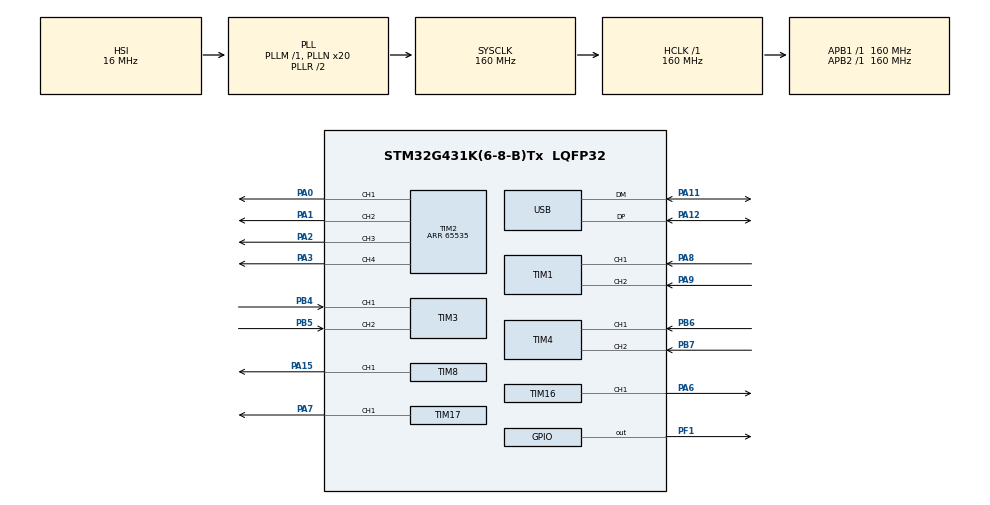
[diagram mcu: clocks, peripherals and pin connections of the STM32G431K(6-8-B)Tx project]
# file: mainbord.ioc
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Mcu.Family=STM32G4
Mcu.Name=STM32G431K(6-8-B)Tx
Mcu.Package=LQFP32
NVIC.PriorityGroup=NVIC_PRIORITYGROUP_4
NVIC.TIM6_DAC_IRQn=true\:0\:0\:false\:false\:true\:true\:true
NVIC.USB_LP_IRQn=true\:0\:0\:false\:false\:true\:false\:true
PA0.Signal=S_TIM2_CH1
PA1.Signal=S_TIM2_CH2
PA11.Mode=Device
PA11.Signal=USB_DM
PA12.Mode=Device
PA12.Signal=USB_DP
PA13.Mode=Serial_Wire
PA13.Signal=SYS_JTMS-SWDIO
PA14.Mode=Serial_Wire
PA14.Signal=SYS_JTCK-SWCLK
PA15.Signal=S_TIM8_CH1
PA2.Signal=S_TIM2_CH3
PA3.Signal=S_TIM2_CH4
PA6.Signal=S_TIM16_CH1
PA7.Signal=S_TIM17_CH1
PA8.Signal=S_TIM1_CH1
PA9.Signal=S_TIM1_CH2
PB4.Signal=S_TIM3_CH1
PB5.Signal=S_TIM3_CH2
PB6.Signal=S_TIM4_CH1
PB7.Signal=S_TIM4_CH2
PF1-OSC_OUT.Signal=GPIO_Output
ProjectManager.HeapSize=0x200
ProjectManager.StackSize=0x400
ProjectManager.TargetToolchain=STM32CubeIDE
RCC.ADC12Freq_Value=160000000
RCC.AHBFreq_Value=160000000
RCC.APB1Freq_Value=160000000
RCC.APB1TimFreq_Value=160000000
RCC.APB2Freq_Value=160000000
RCC.APB2TimFreq_Value=160000000
RCC.CK48CLockSelection=RCC_USBCLKSOURCE_HSI48
RCC.CortexFreq_Value=160000000
RCC.EXTERNAL_CLOCK_VALUE=12288000
RCC.HCLKFreq_Value=160000000
RCC.HSE_VALUE=8000000
RCC.HSI48_VALUE=48000000
RCC.HSI_VALUE=16000000
RCC.LSE_VALUE=32768
RCC.PLLN=20
RCC.PLLQ=RCC_PLLQ_DIV4
RCC.SYSCLKFreq_VALUE=160000000
RCC.SYSCLKSource=RCC_SYSCLKSOURCE_PLLCLK
RCC.USBFreq_Value=48000000
RCC.VCOOutputFreq_Value=320000000
SH.S_TIM16_CH1.0=TIM16_CH1,PWM Generation1 CH1
SH.S_TIM17_CH1.0=TIM17_CH1,PWM Generation1 CH1
SH.S_TIM1_CH1.0=TIM1_CH1,Encoder_Interface
SH.S_TIM1_CH2.0=TIM1_CH2,Encoder_Interface
SH.S_TIM2_CH1.0=TIM2_CH1,PWM Generation1 CH1
SH.S_TIM2_CH2.0=TIM2_CH2,PWM Generation2 CH2
SH.S_TIM2_CH3.0=TIM2_CH3,PWM Generation3 CH3
SH.S_TIM2_CH4.0=TIM2_CH4,PWM Generation4 CH4
SH.S_TIM3_CH1.0=TIM3_CH1,Encoder_Interface
SH.S_TIM3_CH2.0=TIM3_CH2,Encoder_Interface
SH.S_TIM4_CH1.0=TIM4_CH1,Encoder_Interface
SH.S_TIM4_CH2.0=TIM4_CH2,Encoder_Interface
SH.S_TIM8_CH1.0=TIM8_CH1,PWM Generation1 CH1
TIM1.EncoderMode=TIM_ENCODERMODE_TI12
TIM16.Channel=TIM_CHANNEL_1
TIM17.Channel=TIM_CHANNEL_1
TIM2.Channel-PWM\ Generation1\ CH1=TIM_CHANNEL_1
TIM2.Channel-PWM\ Generation2\ CH2=TIM_CHANNEL_2
TIM2.Channel-PWM\ Generation3\ CH3=TIM_CHANNEL_3
TIM2.Channel-PWM\ Generation4\ CH4=TIM_CHANNEL_4
TIM2.Dithering=Disable
TIM2.PeriodNoDither=65535
TIM3.EncoderMode=TIM_ENCODERMODE_TI12
TIM4.EncoderMode=TIM_ENCODERMODE_TI12
TIM6.PeriodNoDither=63999
TIM6.Prescaler=24
TIM8.Channel-PWM\ Generation1\ CH1=TIM_CHANNEL_1
TIM8.PeriodNoDither=63999
TIM8.Prescaler=49
USB_DEVICE.CLASS_NAME_FS=CDC
USB_DEVICE.VirtualMode=Cdc
USB_DEVICE.VirtualModeFS=Cdc_FS
VP_SYS_VS_DBSignals.Mode=DisableDeadBatterySignals
VP_TIM16_VS_ClockSourceINT.Mode=Enable_Timer
VP_TIM17_VS_ClockSourceINT.Mode=Enable_Timer
VP_TIM6_VS_ClockSourceINT.Mode=Enable_Timer
VP_TIM7_VS_ClockSourceINT.Mode=Enable_Timer
VP_USB_DEVICE_VS_USB_DEVICE_CDC_FS.Mode=CDC_FS
board=custom

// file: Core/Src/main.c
/* USER CODE BEGIN Header */
/**
  ******************************************************************************
  * @file           : main.c
  * @brief          : Main program body
  ******************************************************************************
  * @attention
  *
  * <h2><center>&copy; Copyright (c) 2020 STMicroelectronics.
  * All rights reserved.</center></h2>
  *
  * This software component is licensed by ST under BSD 3-Clause license,
  * the "License"; You may not use this file except in compliance with the
  * License. You may obtain a copy of the License at:
  *                        opensource.org/licenses/BSD-3-Clause
  *
  ******************************************************************************
  */
/* USER CODE END Header */
#include "main.h"
#include "usb_device.h"

TIM_HandleTypeDef htim1;
TIM_HandleTypeDef htim2;
TIM_HandleTypeDef htim3;
TIM_HandleTypeDef htim4;
TIM_HandleTypeDef htim6;
TIM_HandleTypeDef htim7;
TIM_HandleTypeDef htim8;
TIM_HandleTypeDef htim16;
TIM_HandleTypeDef htim17;

void SystemClock_Config(void);
static void MX_GPIO_Init(void);
static void MX_TIM2_Init(void);
static void MX_TIM3_Init(void);
static void MX_TIM4_Init(void);
static void MX_TIM7_Init(void);
static void MX_TIM8_Init(void);
static void MX_TIM1_Init(void);
static void MX_TIM16_Init(void);
static void MX_TIM17_Init(void);
static void MX_TIM6_Init(void);

/* USER CODE BEGIN 0 */
typedef struct Command { // (1)
  int16_t speed1;
  int16_t speed2;
  int16_t speed3;
  uint16_t throwerSpeed;
  uint16_t kp;
  uint16_t delimiter; // (2)
} Command;
Command command = {.speed1 = 0, .speed2 = 0, .speed3 = 0, .throwerSpeed = 0, .kp=0,.delimiter = 0}; // (4)
volatile uint8_t isCommandReceived = 0; // (5)

typedef struct PID {
  int16_t position;
  int16_t positionChange;
  int16_t setpoint;
  int16_t positionPrev;
  int32_t ErrorPrev;
  float Cum_error;
  int32_t Error;
  int32_t Errorchange;
  int32_t kp;
  uint32_t ki;
  uint32_t kd;
  uint32_t U;
  int32_t P;
  int32_t I;
  int32_t D;
  int32_t PID;

} PID;

int32_t getPID(PID* pid,int16_t newPosition){
	  pid->kp=6000;
	  pid->ki=46;
	  pid->kd=0;
	  pid->positionPrev = pid->position;
	  pid->position = newPosition;
	  pid->positionChange=pid->position-pid->positionPrev;
	  pid->Error =(pid->setpoint)-(pid->positionChange);

	  pid->P=(pid->kp*pid->Error);

	  pid->Cum_error=pid->Cum_error+pid->Error;
	  if(pid->setpoint==0)
	  {
		  pid->Cum_error=0;
	  }
	  if(pid->Cum_error>3500)
	 	  {
	 		  pid->Cum_error=3500;
	 	  }
	  if(pid->Cum_error<-3500)
	 	  {
	 		  pid->Cum_error=-3500;
	 	  }
	  pid->I=pid->ki*pid->Cum_error;

	  pid->Errorchange=pid->Error-pid->ErrorPrev;
	  pid->ErrorPrev=pid->Error;
	  pid->D=(pid->kd*pid->Errorchange);

	  pid->PID=pid->P+pid->I;//+pid->D;

	  return pid->PID;

}
typedef struct Feedback { // (3)
  int16_t speed1;
  uint16_t error;
  int16_t speed2;
  int16_t speed3;
  uint16_t delimiter;

} Feedback;

void CDC_On_Receive(uint8_t* buffer, uint32_t* length) { // (6)

	if (*length == sizeof(Command)) { // (7)
    memcpy(&command, buffer, sizeof(Command)); // (8)

    if (command.delimiter == 0xAAAA) { // (9)
      isCommandReceived = 1;
    }
  }
}

PID Motor1 = { .position=0,.positionChange=0,.setpoint=0,.positionPrev=0,.Cum_error=0,.D=0,.Error=0,.ErrorPrev=0l,.Errorchange=0,.I=0,.kp=0,.ki=0,.kd=0,.PID=0,};
PID Motor2 = { .position=0};
PID Motor3 =  { .position=0};
void Motor_control_calculations(){
	int32_t PID1;int32_t PID2;int32_t PID3;

	PID1  = getPID(&Motor1,(int16_t)TIM1->CNT);
	PID2  = getPID(&Motor2,(int16_t)TIM3->CNT);
	PID3  = getPID(&Motor3,(int16_t)TIM4->CNT);
//	TIM2->CCR1 = 65535;
//	TIM2->CCR2 =0;
//	TIM2->CCR3 = 65535;
//	TIM2->CCR4 = 0;
//	TIM17->CCR1 = 65535;
//	TIM16->CCR1 = 0;

	if (PID1 > 65535)
	{
	    PID1 = 65535;
	}
	else if (PID1 < -65535)
	{
	    PID1 = -65535;
	}
	if (PID2 > 65535)
	{
		PID2 = 65535;
	}
	else if (PID2 < -65535)
	{
		PID2 = -65535;
	}
	if (PID3 > 65535)
	{
		PID3 = 65535;
	}
	else if (PID3 < -65535)
	{
		PID3 = -65535;
	}
	if(PID1>0){
			TIM2->CCR2 = PID1;
			TIM2->CCR1 = 0;
		}
	else{
			TIM2->CCR1 = -PID1;
			TIM2->CCR2 = 0;
		}
	if(PID2>0){
			TIM2->CCR4 = PID2;
			TIM2->CCR3 = 0;
			}
	else{
			TIM2->CCR3 = -PID2;
			TIM2->CCR4 = 0;
		}
	if(PID3>0){
			TIM17->CCR1 = PID3;
			TIM16->CCR1 = 0;
				}
	else{
			TIM16->CCR1 = -PID3;
			TIM17->CCR1 = 0;
		}
}

void HAL_TIM_PeriodElapsedCallback(TIM_HandleTypeDef *htim) {
	  Motor_control_calculations(); // Motor control calculations can be called from here
 }
/* USER CODE END 0 */

int main(void)
{

  /* MCU Configuration--------------------------------------------------------*/

  /* Reset of all peripherals, Initializes the Flash interface and the Systick. */
  HAL_Init();

  /* Configure the system clock */
  SystemClock_Config();

  /* Initialize all configured peripherals */
  MX_GPIO_Init();
  MX_TIM2_Init();
  MX_TIM3_Init();
  MX_TIM4_Init();
  MX_TIM7_Init();
  MX_TIM8_Init();
  MX_TIM1_Init();
  MX_TIM16_Init();
  MX_TIM17_Init();
  MX_USB_Device_Init();
  MX_TIM6_Init();
  /* USER CODE BEGIN 2 */
  Feedback feedback = { // (1)
       .speed1 = 0,
       .speed2 = 0,
       .speed3 = 0,
	   .error=0,
       .delimiter = 0xAAAA
   };

  HAL_TIM_Encoder_Start(&htim1, TIM_CHANNEL_1 | TIM_CHANNEL_2);
  HAL_TIM_Encoder_Start(&htim3, TIM_CHANNEL_1 | TIM_CHANNEL_2);
  HAL_TIM_Encoder_Start(&htim4, TIM_CHANNEL_1 | TIM_CHANNEL_2);
  HAL_TIM_Base_Start_IT(&htim6);
  HAL_TIM_PWM_Start(&htim2, TIM_CHANNEL_1);
  HAL_TIM_PWM_Start(&htim2, TIM_CHANNEL_2);
  HAL_TIM_PWM_Start(&htim2, TIM_CHANNEL_3);
  HAL_TIM_PWM_Start(&htim2, TIM_CHANNEL_4);//| TIM_CHANNEL_2 | TIM_CHANNEL_3 | TIM_CHANNEL_4);
  HAL_TIM_PWM_Start(&htim16, TIM_CHANNEL_1);
  HAL_TIM_PWM_Start(&htim17, TIM_CHANNEL_1);
  HAL_TIM_PWM_Start(&htim8, TIM_CHANNEL_1);
  TIM8->CCR1=3000;
  /* USER CODE END 2 */

  /* Infinite loop */
  while (1)
  {

    /* USER CODE BEGIN 3 */
	  if (isCommandReceived) { // (2)
	        isCommandReceived = 0;
	        HAL_GPIO_TogglePin(GPIOF, GPIO_PIN_1);
	        //HAL_Delay(1000);// (3)
            Motor1.setpoint = command.speed1;
            Motor2.setpoint = command.speed2;
            Motor3.setpoint = command.speed3;

            TIM8->CCR1=command.throwerSpeed;
//            Motor1.kp=command.kp;
//            Motor2.kp=command.kp;
//            Motor3.kp=command.kp*4;

            //feedback.speed1 = TIM8->CCR1;
	        feedback.speed1 = Motor1.positionChange;
	        feedback.error=Motor3.Error;// (4)
	        feedback.speed2 =Motor2.positionChange;//Motor2.positionChange;
	        feedback.speed3 =Motor3.positionChange;//Motor3.positionChange;

	        CDC_Transmit_FS(&feedback, sizeof(feedback)); // (5)
	      }

  }
  /* USER CODE END 3 */
}

void SystemClock_Config(void)
{
  RCC_OscInitTypeDef RCC_OscInitStruct = {0};
  RCC_ClkInitTypeDef RCC_ClkInitStruct = {0};
  RCC_PeriphCLKInitTypeDef PeriphClkInit = {0};

  /** Configure the main internal regulator output voltage
  */
  HAL_PWREx_ControlVoltageScaling(PWR_REGULATOR_VOLTAGE_SCALE1_BOOST);
  /** Initializes the RCC Oscillators according to the specified parameters
  * in the RCC_OscInitTypeDef structure.
  */
  RCC_OscInitStruct.OscillatorType = RCC_OSCILLATORTYPE_HSI|RCC_OSCILLATORTYPE_HSI48;
  RCC_OscInitStruct.HSIState = RCC_HSI_ON;
  RCC_OscInitStruct.HSICalibrationValue = RCC_HSICALIBRATION_DEFAULT;
  RCC_OscInitStruct.HSI48State = RCC_HSI48_ON;
  RCC_OscInitStruct.PLL.PLLState = RCC_PLL_ON;
  RCC_OscInitStruct.PLL.PLLSource = RCC_PLLSOURCE_HSI;
  RCC_OscInitStruct.PLL.PLLM = RCC_PLLM_DIV1;
  RCC_OscInitStruct.PLL.PLLN = 20;
  RCC_OscInitStruct.PLL.PLLP = RCC_PLLP_DIV2;
  RCC_OscInitStruct.PLL.PLLQ = RCC_PLLQ_DIV4;
  RCC_OscInitStruct.PLL.PLLR = RCC_PLLR_DIV2;
  if (HAL_RCC_OscConfig(&RCC_OscInitStruct) != HAL_OK)
  {
    Error_Handler();
  }
  /** Initializes the CPU, AHB and APB buses clocks
  */
  RCC_ClkInitStruct.ClockType = RCC_CLOCKTYPE_HCLK|RCC_CLOCKTYPE_SYSCLK
                              |RCC_CLOCKTYPE_PCLK1|RCC_CLOCKTYPE_PCLK2;
  RCC_ClkInitStruct.SYSCLKSource = RCC_SYSCLKSOURCE_PLLCLK;
  RCC_ClkInitStruct.AHBCLKDivider = RCC_SYSCLK_DIV1;
  RCC_ClkInitStruct.APB1CLKDivider = RCC_HCLK_DIV1;
  RCC_ClkInitStruct.APB2CLKDivider = RCC_HCLK_DIV1;

  if (HAL_RCC_ClockConfig(&RCC_ClkInitStruct, FLASH_LATENCY_4) != HAL_OK)
  {
    Error_Handler();
  }
  /** Initializes the peripherals clocks
  */
  PeriphClkInit.PeriphClockSelection = RCC_PERIPHCLK_USB;
  PeriphClkInit.UsbClockSelection = RCC_USBCLKSOURCE_HSI48;
  if (HAL_RCCEx_PeriphCLKConfig(&PeriphClkInit) != HAL_OK)
  {
    Error_Handler();
  }
}

static void MX_TIM1_Init(void)
{

  TIM_Encoder_InitTypeDef sConfig = {0};
  TIM_MasterConfigTypeDef sMasterConfig = {0};
  TIM_BreakDeadTimeConfigTypeDef sBreakDeadTimeConfig = {0};

  htim1.Instance = TIM1;
  htim1.Init.Prescaler = 0;
  htim1.Init.CounterMode = TIM_COUNTERMODE_UP;
  htim1.Init.Period = 65535;
  htim1.Init.ClockDivision = TIM_CLOCKDIVISION_DIV1;
  htim1.Init.RepetitionCounter = 0;
  htim1.Init.AutoReloadPreload = TIM_AUTORELOAD_PRELOAD_DISABLE;
  sConfig.EncoderMode = TIM_ENCODERMODE_TI12;
  sConfig.IC1Polarity = TIM_ICPOLARITY_RISING;
  sConfig.IC1Selection = TIM_ICSELECTION_DIRECTTI;
  sConfig.IC1Prescaler = TIM_ICPSC_DIV1;
  sConfig.IC1Filter = 0;
  sConfig.IC2Polarity = TIM_ICPOLARITY_RISING;
  sConfig.IC2Selection = TIM_ICSELECTION_DIRECTTI;
  sConfig.IC2Prescaler = TIM_ICPSC_DIV1;
  sConfig.IC2Filter = 0;
  if (HAL_TIM_Encoder_Init(&htim1, &sConfig) != HAL_OK)
  {
    Error_Handler();
  }
  sMasterConfig.MasterOutputTrigger = TIM_TRGO_RESET;
  sMasterConfig.MasterOutputTrigger2 = TIM_TRGO2_RESET;
  sMasterConfig.MasterSlaveMode = TIM_MASTERSLAVEMODE_DISABLE;
  if (HAL_TIMEx_MasterConfigSynchronization(&htim1, &sMasterConfig) != HAL_OK)
  {
    Error_Handler();
  }
  sBreakDeadTimeConfig.BreakAFMode = TIM_BREAK_AFMODE_INPUT;
  sBreakDeadTimeConfig.Break2AFMode = TIM_BREAK_AFMODE_INPUT;
  if (HAL_TIMEx_ConfigBreakDeadTime(&htim1, &sBreakDeadTimeConfig) != HAL_OK)
  {
    Error_Handler();
  }

}

static void MX_TIM2_Init(void)
{

  TIM_MasterConfigTypeDef sMasterConfig = {0};
  TIM_OC_InitTypeDef sConfigOC = {0};

  htim2.Instance = TIM2;
  htim2.Init.Prescaler = 0;
  htim2.Init.CounterMode = TIM_COUNTERMODE_UP;
  htim2.Init.Period = 65535;
  htim2.Init.ClockDivision = TIM_CLOCKDIVISION_DIV1;
  htim2.Init.AutoReloadPreload = TIM_AUTORELOAD_PRELOAD_DISABLE;
  if (HAL_TIM_PWM_Init(&htim2) != HAL_OK)
  {
    Error_Handler();
  }
  sMasterConfig.MasterOutputTrigger = TIM_TRGO_RESET;
  sMasterConfig.MasterSlaveMode = TIM_MASTERSLAVEMODE_DISABLE;
  if (HAL_TIMEx_MasterConfigSynchronization(&htim2, &sMasterConfig) != HAL_OK)
  {
    Error_Handler();
  }
  sConfigOC.OCMode = TIM_OCMODE_PWM1;
  sConfigOC.Pulse = 0;
  sConfigOC.OCPolarity = TIM_OCPOLARITY_HIGH;
  sConfigOC.OCFastMode = TIM_OCFAST_DISABLE;
  if (HAL_TIM_PWM_ConfigChannel(&htim2, &sConfigOC, TIM_CHANNEL_1) != HAL_OK)
  {
    Error_Handler();
  }
  sConfigOC.Pulse = 0;
  if (HAL_TIM_PWM_ConfigChannel(&htim2, &sConfigOC, TIM_CHANNEL_2) != HAL_OK)
  {
    Error_Handler();
  }
  sConfigOC.Pulse = 0;
  if (HAL_TIM_PWM_ConfigChannel(&htim2, &sConfigOC, TIM_CHANNEL_3) != HAL_OK)
  {
    Error_Handler();
  }
  sConfigOC.Pulse = 0;
  if (HAL_TIM_PWM_ConfigChannel(&htim2, &sConfigOC, TIM_CHANNEL_4) != HAL_OK)
  {
    Error_Handler();
  }
  HAL_TIM_MspPostInit(&htim2);

}

static void MX_TIM3_Init(void)
{

  TIM_Encoder_InitTypeDef sConfig = {0};
  TIM_MasterConfigTypeDef sMasterConfig = {0};

  htim3.Instance = TIM3;
  htim3.Init.Prescaler = 0;
  htim3.Init.CounterMode = TIM_COUNTERMODE_UP;
  htim3.Init.Period = 65535;
  htim3.Init.ClockDivision = TIM_CLOCKDIVISION_DIV1;
  htim3.Init.AutoReloadPreload = TIM_AUTORELOAD_PRELOAD_DISABLE;
  sConfig.EncoderMode = TIM_ENCODERMODE_TI12;
  sConfig.IC1Polarity = TIM_ICPOLARITY_RISING;
  sConfig.IC1Selection = TIM_ICSELECTION_DIRECTTI;
  sConfig.IC1Prescaler = TIM_ICPSC_DIV1;
  sConfig.IC1Filter = 0;
  sConfig.IC2Polarity = TIM_ICPOLARITY_RISING;
  sConfig.IC2Selection = TIM_ICSELECTION_DIRECTTI;
  sConfig.IC2Prescaler = TIM_ICPSC_DIV1;
  sConfig.IC2Filter = 0;
  if (HAL_TIM_Encoder_Init(&htim3, &sConfig) != HAL_OK)
  {
    Error_Handler();
  }
  sMasterConfig.MasterOutputTrigger = TIM_TRGO_RESET;
  sMasterConfig.MasterSlaveMode = TIM_MASTERSLAVEMODE_DISABLE;
  if (HAL_TIMEx_MasterConfigSynchronization(&htim3, &sMasterConfig) != HAL_OK)
  {
    Error_Handler();
  }

}

static void MX_TIM4_Init(void)
{

  TIM_Encoder_InitTypeDef sConfig = {0};
  TIM_MasterConfigTypeDef sMasterConfig = {0};

  htim4.Instance = TIM4;
  htim4.Init.Prescaler = 0;
  htim4.Init.CounterMode = TIM_COUNTERMODE_UP;
  htim4.Init.Period = 65535;
  htim4.Init.ClockDivision = TIM_CLOCKDIVISION_DIV1;
  htim4.Init.AutoReloadPreload = TIM_AUTORELOAD_PRELOAD_DISABLE;
  sConfig.EncoderMode = TIM_ENCODERMODE_TI12;
  sConfig.IC1Polarity = TIM_ICPOLARITY_RISING;
  sConfig.IC1Selection = TIM_ICSELECTION_DIRECTTI;
  sConfig.IC1Prescaler = TIM_ICPSC_DIV1;
  sConfig.IC1Filter = 0;
  sConfig.IC2Polarity = TIM_ICPOLARITY_RISING;
  sConfig.IC2Selection = TIM_ICSELECTION_DIRECTTI;
  sConfig.IC2Prescaler = TIM_ICPSC_DIV1;
  sConfig.IC2Filter = 0;
  if (HAL_TIM_Encoder_Init(&htim4, &sConfig) != HAL_OK)
  {
    Error_Handler();
  }
  sMasterConfig.MasterOutputTrigger = TIM_TRGO_RESET;
  sMasterConfig.MasterSlaveMode = TIM_MASTERSLAVEMODE_DISABLE;
  if (HAL_TIMEx_MasterConfigSynchronization(&htim4, &sMasterConfig) != HAL_OK)
  {
    Error_Handler();
  }

}

static void MX_TIM6_Init(void)
{

  TIM_MasterConfigTypeDef sMasterConfig = {0};

  htim6.Instance = TIM6;
  htim6.Init.Prescaler = 24;
  htim6.Init.CounterMode = TIM_COUNTERMODE_UP;
  htim6.Init.Period = 63999;
  htim6.Init.AutoReloadPreload = TIM_AUTORELOAD_PRELOAD_DISABLE;
  if (HAL_TIM_Base_Init(&htim6) != HAL_OK)
  {
    Error_Handler();
  }
  sMasterConfig.MasterOutputTrigger = TIM_TRGO_RESET;
  sMasterConfig.MasterSlaveMode = TIM_MASTERSLAVEMODE_DISABLE;
  if (HAL_TIMEx_MasterConfigSynchronization(&htim6, &sMasterConfig) != HAL_OK)
  {
    Error_Handler();
  }

}

static void MX_TIM7_Init(void)
{

  TIM_MasterConfigTypeDef sMasterConfig = {0};

  htim7.Instance = TIM7;
  htim7.Init.Prescaler = 0;
  htim7.Init.CounterMode = TIM_COUNTERMODE_UP;
  htim7.Init.Period = 65535;
  htim7.Init.AutoReloadPreload = TIM_AUTORELOAD_PRELOAD_DISABLE;
  if (HAL_TIM_Base_Init(&htim7) != HAL_OK)
  {
    Error_Handler();
  }
  sMasterConfig.MasterOutputTrigger = TIM_TRGO_RESET;
  sMasterConfig.MasterSlaveMode = TIM_MASTERSLAVEMODE_DISABLE;
  if (HAL_TIMEx_MasterConfigSynchronization(&htim7, &sMasterConfig) != HAL_OK)
  {
    Error_Handler();
  }

}

static void MX_TIM8_Init(void)
{

  TIM_MasterConfigTypeDef sMasterConfig = {0};
  TIM_OC_InitTypeDef sConfigOC = {0};
  TIM_BreakDeadTimeConfigTypeDef sBreakDeadTimeConfig = {0};

  htim8.Instance = TIM8;
  htim8.Init.Prescaler = 49;
  htim8.Init.CounterMode = TIM_COUNTERMODE_UP;
  htim8.Init.Period = 63999;
  htim8.Init.ClockDivision = TIM_CLOCKDIVISION_DIV1;
  htim8.Init.RepetitionCounter = 0;
  htim8.Init.AutoReloadPreload = TIM_AUTORELOAD_PRELOAD_DISABLE;
  if (HAL_TIM_PWM_Init(&htim8) != HAL_OK)
  {
    Error_Handler();
  }
  sMasterConfig.MasterOutputTrigger = TIM_TRGO_RESET;
  sMasterConfig.MasterOutputTrigger2 = TIM_TRGO2_RESET;
  sMasterConfig.MasterSlaveMode = TIM_MASTERSLAVEMODE_DISABLE;
  if (HAL_TIMEx_MasterConfigSynchronization(&htim8, &sMasterConfig) != HAL_OK)
  {
    Error_Handler();
  }
  sConfigOC.OCMode = TIM_OCMODE_PWM1;
  sConfigOC.Pulse = 0;
  sConfigOC.OCPolarity = TIM_OCPOLARITY_HIGH;
  sConfigOC.OCNPolarity = TIM_OCNPOLARITY_HIGH;
  sConfigOC.OCFastMode = TIM_OCFAST_DISABLE;
  sConfigOC.OCIdleState = TIM_OCIDLESTATE_RESET;
  sConfigOC.OCNIdleState = TIM_OCNIDLESTATE_RESET;
  if (HAL_TIM_PWM_ConfigChannel(&htim8, &sConfigOC, TIM_CHANNEL_1) != HAL_OK)
  {
    Error_Handler();
  }
  sBreakDeadTimeConfig.OffStateRunMode = TIM_OSSR_DISABLE;
  sBreakDeadTimeConfig.OffStateIDLEMode = TIM_OSSI_DISABLE;
  sBreakDeadTimeConfig.LockLevel = TIM_LOCKLEVEL_OFF;
  sBreakDeadTimeConfig.DeadTime = 0;
  sBreakDeadTimeConfig.BreakState = TIM_BREAK_DISABLE;
  sBreakDeadTimeConfig.BreakPolarity = TIM_BREAKPOLARITY_HIGH;
  sBreakDeadTimeConfig.BreakFilter = 0;
  sBreakDeadTimeConfig.BreakAFMode = TIM_BREAK_AFMODE_INPUT;
  sBreakDeadTimeConfig.Break2State = TIM_BREAK2_DISABLE;
  sBreakDeadTimeConfig.Break2Polarity = TIM_BREAK2POLARITY_HIGH;
  sBreakDeadTimeConfig.Break2Filter = 0;
  sBreakDeadTimeConfig.Break2AFMode = TIM_BREAK_AFMODE_INPUT;
  sBreakDeadTimeConfig.AutomaticOutput = TIM_AUTOMATICOUTPUT_DISABLE;
  if (HAL_TIMEx_ConfigBreakDeadTime(&htim8, &sBreakDeadTimeConfig) != HAL_OK)
  {
    Error_Handler();
  }
  HAL_TIM_MspPostInit(&htim8);

}

static void MX_TIM16_Init(void)
{

  TIM_OC_InitTypeDef sConfigOC = {0};
  TIM_BreakDeadTimeConfigTypeDef sBreakDeadTimeConfig = {0};

  htim16.Instance = TIM16;
  htim16.Init.Prescaler = 0;
  htim16.Init.CounterMode = TIM_COUNTERMODE_UP;
  htim16.Init.Period = 65535;
  htim16.Init.ClockDivision = TIM_CLOCKDIVISION_DIV1;
  htim16.Init.RepetitionCounter = 0;
  htim16.Init.AutoReloadPreload = TIM_AUTORELOAD_PRELOAD_DISABLE;
  if (HAL_TIM_Base_Init(&htim16) != HAL_OK)
  {
    Error_Handler();
  }
  if (HAL_TIM_PWM_Init(&htim16) != HAL_OK)
  {
    Error_Handler();
  }
  sConfigOC.OCMode = TIM_OCMODE_PWM1;
  sConfigOC.Pulse = 0;
  sConfigOC.OCPolarity = TIM_OCPOLARITY_HIGH;
  sConfigOC.OCNPolarity = TIM_OCNPOLARITY_HIGH;
  sConfigOC.OCFastMode = TIM_OCFAST_DISABLE;
  sConfigOC.OCIdleState = TIM_OCIDLESTATE_RESET;
  sConfigOC.OCNIdleState = TIM_OCNIDLESTATE_RESET;
  if (HAL_TIM_PWM_ConfigChannel(&htim16, &sConfigOC, TIM_CHANNEL_1) != HAL_OK)
  {
    Error_Handler();
  }
  sBreakDeadTimeConfig.OffStateRunMode = TIM_OSSR_DISABLE;
  sBreakDeadTimeConfig.OffStateIDLEMode = TIM_OSSI_DISABLE;
  sBreakDeadTimeConfig.LockLevel = TIM_LOCKLEVEL_OFF;
  sBreakDeadTimeConfig.DeadTime = 0;
  sBreakDeadTimeConfig.BreakState = TIM_BREAK_DISABLE;
  sBreakDeadTimeConfig.BreakPolarity = TIM_BREAKPOLARITY_HIGH;
  sBreakDeadTimeConfig.BreakFilter = 0;
  sBreakDeadTimeConfig.AutomaticOutput = TIM_AUTOMATICOUTPUT_DISABLE;
  if (HAL_TIMEx_ConfigBreakDeadTime(&htim16, &sBreakDeadTimeConfig) != HAL_OK)
  {
    Error_Handler();
  }
  HAL_TIM_MspPostInit(&htim16);

}

static void MX_TIM17_Init(void)
{

  TIM_OC_InitTypeDef sConfigOC = {0};
  TIM_BreakDeadTimeConfigTypeDef sBreakDeadTimeConfig = {0};

  htim17.Instance = TIM17;
  htim17.Init.Prescaler = 0;
  htim17.Init.CounterMode = TIM_COUNTERMODE_UP;
  htim17.Init.Period = 65535;
  htim17.Init.ClockDivision = TIM_CLOCKDIVISION_DIV1;
  htim17.Init.RepetitionCounter = 0;
  htim17.Init.AutoReloadPreload = TIM_AUTORELOAD_PRELOAD_DISABLE;
  if (HAL_TIM_Base_Init(&htim17) != HAL_OK)
  {
    Error_Handler();
  }
  if (HAL_TIM_PWM_Init(&htim17) != HAL_OK)
  {
    Error_Handler();
  }
  sConfigOC.OCMode = TIM_OCMODE_PWM1;
  sConfigOC.Pulse = 0;
  sConfigOC.OCPolarity = TIM_OCPOLARITY_HIGH;
  sConfigOC.OCNPolarity = TIM_OCNPOLARITY_HIGH;
  sConfigOC.OCFastMode = TIM_OCFAST_DISABLE;
  sConfigOC.OCIdleState = TIM_OCIDLESTATE_RESET;
  sConfigOC.OCNIdleState = TIM_OCNIDLESTATE_RESET;
  if (HAL_TIM_PWM_ConfigChannel(&htim17, &sConfigOC, TIM_CHANNEL_1) != HAL_OK)
  {
    Error_Handler();
  }
  sBreakDeadTimeConfig.OffStateRunMode = TIM_OSSR_DISABLE;
  sBreakDeadTimeConfig.OffStateIDLEMode = TIM_OSSI_DISABLE;
  sBreakDeadTimeConfig.LockLevel = TIM_LOCKLEVEL_OFF;
  sBreakDeadTimeConfig.DeadTime = 0;
  sBreakDeadTimeConfig.BreakState = TIM_BREAK_DISABLE;
  sBreakDeadTimeConfig.BreakPolarity = TIM_BREAKPOLARITY_HIGH;
  sBreakDeadTimeConfig.BreakFilter = 0;
  sBreakDeadTimeConfig.AutomaticOutput = TIM_AUTOMATICOUTPUT_DISABLE;
  if (HAL_TIMEx_ConfigBreakDeadTime(&htim17, &sBreakDeadTimeConfig) != HAL_OK)
  {
    Error_Handler();
  }
  HAL_TIM_MspPostInit(&htim17);

}

static void MX_GPIO_Init(void)
{
  GPIO_InitTypeDef GPIO_InitStruct = {0};

  /* GPIO Ports Clock Enable */
  __HAL_RCC_GPIOF_CLK_ENABLE();
  __HAL_RCC_GPIOA_CLK_ENABLE();
  __HAL_RCC_GPIOB_CLK_ENABLE();

  /*Configure GPIO pin Output Level */
  HAL_GPIO_WritePin(GPIOF, GPIO_PIN_1, GPIO_PIN_RESET);

  /*Configure GPIO pin : PF1 */
  GPIO_InitStruct.Pin = GPIO_PIN_1;
  GPIO_InitStruct.Mode = GPIO_MODE_OUTPUT_PP;
  GPIO_InitStruct.Pull = GPIO_NOPULL;
  GPIO_InitStruct.Speed = GPIO_SPEED_FREQ_LOW;
  HAL_GPIO_Init(GPIOF, &GPIO_InitStruct);

}

void Error_Handler(void)
{
}

/************************ (C) COPYRIGHT STMicroelectronics *****END OF FILE****/
